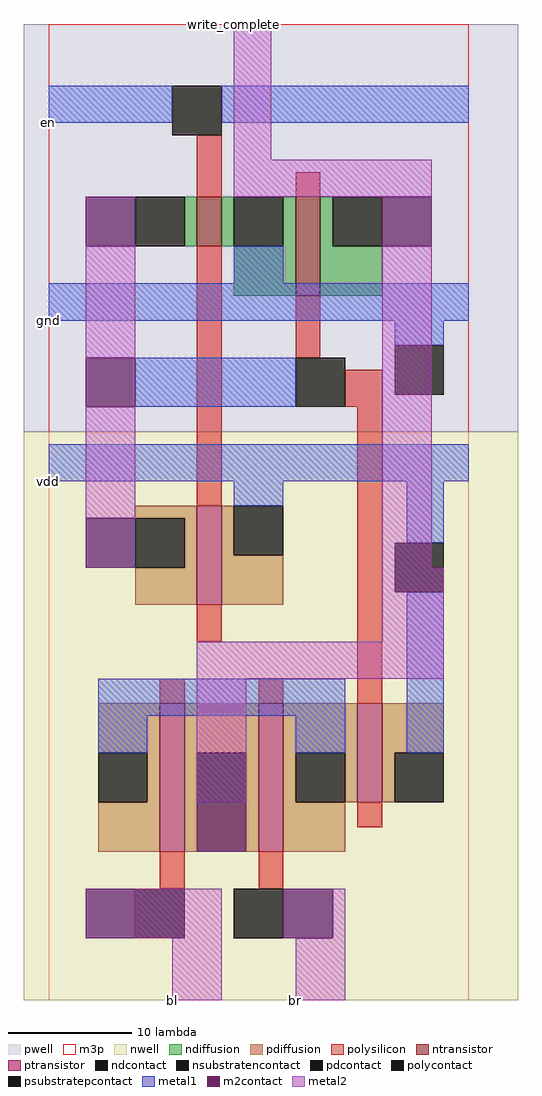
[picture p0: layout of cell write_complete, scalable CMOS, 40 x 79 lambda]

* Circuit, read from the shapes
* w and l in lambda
.subckt write_complete bl br en gnd vdd
M1 gnd en n1 gnd nfet w=4 l=2
M2 n2 n1 gnd gnd nfet w=8 l=2
M3 n2 bl n3 vdd pfet w=12 l=2
M4 vdd en n1 vdd pfet w=8 l=2
M5 n3 br n2 vdd pfet w=12 l=2
M6 vdd n1 n3 vdd pfet w=8 l=2
.ends

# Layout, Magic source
magic
tech scmos
<< nwell >>
rect -2 0 38 46
<< pwell >>
rect -2 46 38 79
<< ntransistor >>
rect 12 61 14 65
rect 20 57 22 65
<< ptransistor >>
rect 12 32 14 40
rect 9 12 11 24
rect 17 12 19 24
rect 25 16 27 24
<< ndiffusion >>
rect 11 61 12 65
rect 14 61 15 65
rect 19 61 20 65
rect 15 57 20 61
rect 22 61 23 65
rect 22 57 27 61
<< pdiffusion >>
rect 7 39 12 40
rect 11 35 12 39
rect 7 32 12 35
rect 14 36 15 40
rect 14 32 19 36
rect 4 20 9 24
rect 8 16 9 20
rect 4 12 9 16
rect 11 20 17 24
rect 11 16 12 20
rect 16 16 17 20
rect 11 12 17 16
rect 19 20 25 24
rect 19 16 20 20
rect 24 16 25 20
rect 27 20 32 24
rect 27 16 28 20
rect 19 12 24 16
<< ndcontact >>
rect 7 61 11 65
rect 15 61 19 65
rect 23 61 27 65
<< pdcontact >>
rect 7 35 11 39
rect 15 36 19 40
rect 4 16 8 20
rect 12 16 16 20
rect 20 16 24 20
rect 28 16 32 20
<< psubstratepcontact >>
rect 28 49 32 53
<< nsubstratencontact >>
rect 28 33 32 37
<< polysilicon >>
rect 12 65 14 70
rect 20 65 22 67
rect 12 40 14 61
rect 20 52 22 57
rect 24 48 27 51
rect 12 29 14 32
rect 9 24 11 26
rect 17 24 19 26
rect 25 24 27 48
rect 25 14 27 16
rect 9 9 11 12
rect 17 9 19 12
<< polycontact >>
rect 10 70 14 74
rect 20 48 24 52
rect 7 5 11 9
rect 15 5 19 9
<< metal1 >>
rect 0 71 10 74
rect 14 71 34 74
rect 15 58 19 61
rect 0 55 34 58
rect 28 53 32 55
rect 7 48 20 52
rect 0 42 34 45
rect 15 40 19 42
rect 29 37 32 42
rect 4 23 24 26
rect 4 20 8 23
rect 20 20 24 23
rect 29 20 32 33
<< m2contact >>
rect 3 61 7 65
rect 27 61 31 65
rect 3 48 7 52
rect 3 35 7 39
rect 12 12 16 16
rect 3 5 7 9
rect 19 5 23 9
<< metal2 >>
rect 15 68 18 79
rect 15 65 31 68
rect 3 52 7 61
rect 3 39 7 48
rect 27 35 31 61
rect 27 29 32 35
rect 12 26 32 29
rect 12 16 16 26
rect 7 5 14 9
rect 23 5 24 9
rect 10 0 14 5
rect 20 0 24 5
<< m3p >>
rect 0 0 34 79
<< labels >>
rlabel metal2 10 0 10 0 4 bl
rlabel metal2 20 0 20 0 4 br
rlabel metal1 0 55 0 55 1 gnd
rlabel metal2 15 79 15 79 4 write_complete
rlabel metal1 0 71 0 71 1 en
rlabel metal1 0 42 0 42 1 vdd
<< end >>
